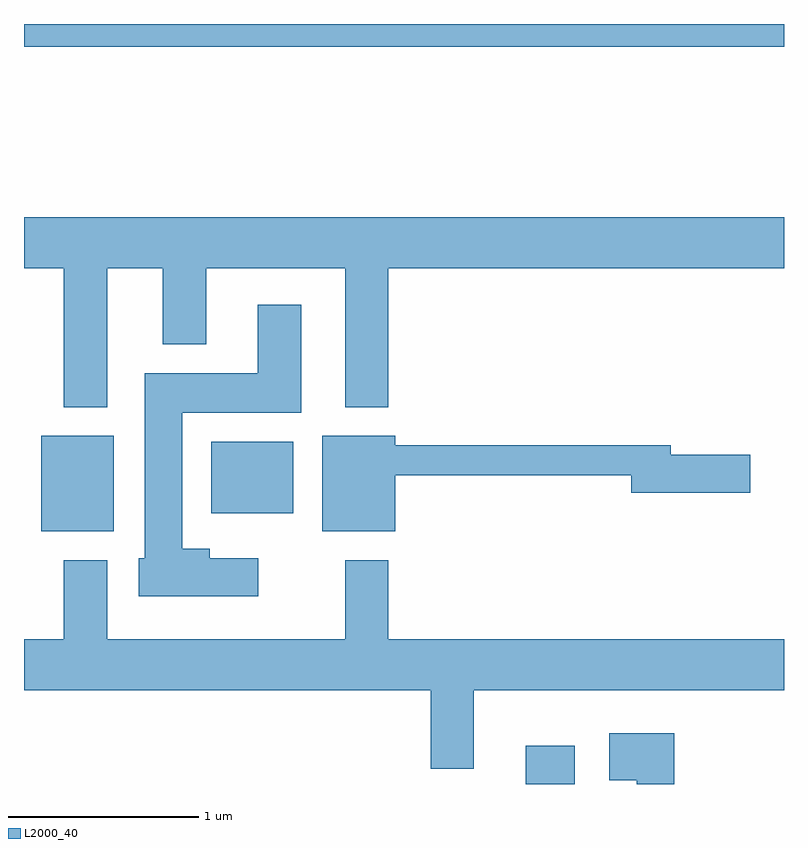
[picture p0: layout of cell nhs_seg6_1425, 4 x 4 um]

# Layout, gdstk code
import gdstk
lib = gdstk.Library(unit=1e-6, precision=1e-09)
def R(c, l, rs):  # rectangles x0, y0, x1, y1
    for r in rs: c.add(gdstk.rectangle(r[:2], r[2:], *l))
def P(c, l, *ps):  # polygons
    for p in ps: c.add(gdstk.Polygon(p, *l))
L2000_40 = (2000, 40)

nhs_seg6_1425 = lib.new_cell('nhs_seg6_1425')
R(nhs_seg6_1425, L2000_40, [(230.251,1596.162,230.509,1596.364), (227.701,1597.491,228.084,1597.994), (228.596,1597.586,229.029,1597.964), (227.611,1600.041,231.611,1600.162)])
P(nhs_seg6_1425, L2000_40, [(228.049,1598.876),(228.341,1598.876),(228.341,1598.476),(228.569,1598.476),(228.569,1598.876),(229.301,1598.876),(229.301,1598.146),(229.529,1598.146),(229.529,1598.876),(231.611,1598.876),(231.611,1599.144),(227.611,1599.144),(227.611,1598.876),(227.821,1598.876),(227.821,1598.146),(228.049,1598.146)],
  [(228.844,1597.349),(228.589,1597.349),(228.589,1597.399),(228.444,1597.399),(228.444,1598.116),(229.069,1598.116),(229.069,1598.684),(228.841,1598.684),(228.841,1598.324),(228.246,1598.324),(228.246,1597.349),(228.216,1597.349),(228.216,1597.151),(228.844,1597.151)],
  [(229.564,1597.786),(230.806,1597.786),(230.806,1597.696),(231.434,1597.696),(231.434,1597.894),(231.014,1597.894),(231.014,1597.944),(229.564,1597.944),(229.564,1597.994),(229.181,1597.994),(229.181,1597.491),(229.564,1597.491)],
  [(229.979,1596.656),(231.611,1596.656),(231.611,1596.924),(229.529,1596.924),(229.529,1597.339),(229.301,1597.339),(229.301,1596.924),(228.049,1596.924),(228.049,1597.339),(227.821,1597.339),(227.821,1596.924),(227.611,1596.924),(227.611,1596.656),(229.751,1596.656),(229.751,1596.241),(229.979,1596.241)],
  [(231.034,1596.429),(230.691,1596.429),(230.691,1596.181),(230.836,1596.181),(230.836,1596.162),(231.034,1596.162)])

lib.write_gds('nhs_seg6_1425.gds')
